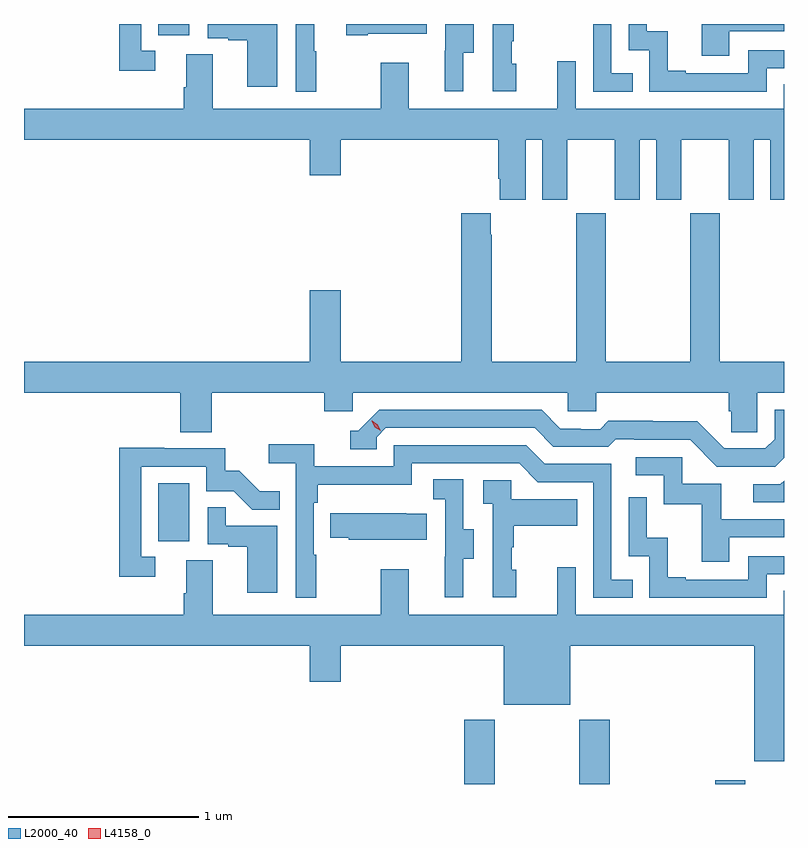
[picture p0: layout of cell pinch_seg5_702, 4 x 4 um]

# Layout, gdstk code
import gdstk
lib = gdstk.Library(unit=1e-6, precision=1e-09)
def R(c, l, rs):  # rectangles x0, y0, x1, y1
    for r in rs: c.add(gdstk.rectangle(r[:2], r[2:], *l))
def P(c, l, *ps):  # polygons
    for p in ps: c.add(gdstk.Polygon(p, *l))
L2000_40 = (2000, 40)
L4158_0 = (4158, 0)

pinch_seg5_702 = lib.new_cell('pinch_seg5_702')
R(pinch_seg5_702, L2000_40, [(1142.843,842.713,1143.003,843.052), (1143.448,842.713,1143.608,843.052), (1144.163,842.713,1144.323,842.734), (1141.232,843.99,1141.396,844.297), (1141.232,846.654,1141.396,846.713)])
P(pinch_seg5_702, L2000_40, [(1143.731,846.453),(1143.618,846.453),(1143.618,846.713),(1143.522,846.713),(1143.522,846.357),(1143.731,846.357)],
  [(1142.335,846.662),(1142.645,846.662),(1142.645,846.713),(1142.223,846.713),(1142.223,846.655),(1142.335,846.655)],
  [(1143.118,846.504),(1143.093,846.504),(1143.093,846.623),(1143.103,846.623),(1143.103,846.713),(1142.994,846.713),(1142.994,846.36),(1143.118,846.36)],
  [(1142.839,846.562),(1142.893,846.562),(1142.893,846.713),(1142.742,846.713),(1142.742,846.573),(1142.741,846.573),(1142.741,846.36),(1142.839,846.36)],
  [(1141.858,846.713),(1141.494,846.713),(1141.494,846.639),(1141.601,846.639),(1141.601,846.627),(1141.7,846.627),(1141.7,846.384),(1141.858,846.384)],
  [(1142.065,846.569),(1142.053,846.569),(1142.053,846.713),(1141.956,846.713),(1141.956,846.357),(1142.065,846.357)],
  [(1144.434,846.48),(1144.526,846.48),(1144.526,846.576),(1144.338,846.576),(1144.338,846.453),(1144.009,846.453),(1144.009,846.466),(1143.914,846.466),(1143.914,846.674),(1143.804,846.674),(1143.804,846.713),(1143.708,846.713),(1143.708,846.576),(1143.816,846.576),(1143.816,846.357),(1144.434,846.357)],
  [(1141.216,846.573),(1141.143,846.573),(1141.143,846.713),(1141.027,846.713),(1141.027,846.468),(1141.216,846.468)],
  [(1144.237,846.675),(1144.526,846.675),(1144.526,846.713),(1144.093,846.713),(1144.093,846.546),(1144.237,846.546)],
  [(1143.166,846.104),(1143.254,846.104),(1143.254,845.787),(1143.385,845.787),(1143.385,846.104),(1143.635,846.104),(1143.635,845.787),(1143.766,845.787),(1143.766,846.104),(1143.854,846.104),(1143.854,845.787),(1143.985,845.787),(1143.985,846.104),(1144.235,846.104),(1144.235,845.787),(1144.366,845.787),(1144.366,846.104),(1144.454,846.104),(1144.454,845.787),(1144.526,845.787),(1144.526,846.395),(1144.524,846.395),(1144.524,846.268),(1143.429,846.268),(1143.429,846.517),(1143.332,846.517),(1143.332,846.268),(1142.551,846.268),(1142.551,846.508),(1142.404,846.508),(1142.404,846.268),(1141.519,846.268),(1141.519,846.554),(1141.379,846.554),(1141.379,846.38),(1141.367,846.38),(1141.367,846.268),(1140.526,846.268),(1140.526,846.104),(1142.03,846.104),(1142.03,845.916),(1142.194,845.916),(1142.194,846.104),(1143.023,846.104),(1143.023,845.899),(1143.029,845.899),(1143.029,845.787),(1143.166,845.787)],
  [(1141.514,844.772),(1142.105,844.772),(1142.105,844.674),(1142.256,844.674),(1142.256,844.772),(1143.387,844.772),(1143.387,844.674),(1143.537,844.674),(1143.537,844.772),(1144.235,844.772),(1144.235,844.674),(1144.249,844.674),(1144.249,844.564),(1144.386,844.564),(1144.386,844.772),(1144.526,844.772),(1144.526,844.936),(1144.188,844.936),(1144.188,845.716),(1144.033,845.716),(1144.033,844.936),(1143.588,844.936),(1143.588,845.716),(1143.433,845.716),(1143.433,844.936),(1142.988,844.936),(1142.988,845.603),(1142.983,845.603),(1142.983,845.716),(1142.828,845.716),(1142.828,844.936),(1142.194,844.936),(1142.194,845.311),(1142.03,845.311),(1142.03,844.936),(1140.526,844.936),(1140.526,844.772),(1141.349,844.772),(1141.349,844.564),(1141.514,844.564)],
  [(1144.526,844.43),(1144.526,844.683),(1144.476,844.683),(1144.476,844.527),(1144.428,844.479),(1144.212,844.479),(1144.07,844.621),(1143.834,844.621),(1143.834,844.624),(1143.601,844.624),(1143.559,844.581),(1143.456,844.581),(1143.456,844.584),(1143.349,844.584),(1143.25,844.683),(1142.397,844.683),(1142.286,844.572),(1142.243,844.572),(1142.243,844.476),(1142.382,844.476),(1142.382,844.539),(1142.43,844.587),(1143.213,844.587),(1143.312,844.488),(1143.601,844.488),(1143.64,844.527),(1143.739,844.527),(1143.739,844.524),(1144.032,844.524),(1144.173,844.383),(1144.479,844.383)],
  [(1142.065,843.92),(1142.052,843.92),(1142.052,844.193),(1142.072,844.193),(1142.072,844.289),(1142.568,844.289),(1142.568,844.401),(1143.132,844.401),(1143.231,844.302),(1143.522,844.302),(1143.522,843.693),(1143.731,843.693),(1143.731,843.789),(1143.618,843.789),(1143.618,844.398),(1143.268,844.398),(1143.169,844.497),(1142.472,844.497),(1142.472,844.386),(1142.054,844.386),(1142.054,844.502),(1141.815,844.502),(1141.815,844.4),(1141.956,844.4),(1141.956,843.693),(1142.065,843.693)],
  [(1141.216,843.909),(1141.143,843.909),(1141.143,844.383),(1141.485,844.383),(1141.485,844.254),(1141.629,844.254),(1141.727,844.156),(1141.871,844.156),(1141.871,844.255),(1141.767,844.255),(1141.66,844.362),(1141.584,844.362),(1141.584,844.479),(1141.265,844.479),(1141.265,844.484),(1141.027,844.484),(1141.027,843.804),(1141.216,843.804)],
  [(1144.237,844.011),(1144.526,844.011),(1144.526,844.107),(1144.195,844.107),(1144.195,844.293),(1143.99,844.293),(1143.99,844.434),(1143.747,844.434),(1143.747,844.338),(1143.894,844.338),(1143.894,844.185),(1144.093,844.185),(1144.093,843.882),(1144.237,843.882)],
  [(1142.839,843.898),(1142.893,843.898),(1142.893,844.053),(1142.838,844.053),(1142.838,844.316),(1142.679,844.316),(1142.679,844.213),(1142.742,844.213),(1142.742,843.909),(1142.741,843.909),(1142.741,843.696),(1142.839,843.696)],
  [(1143.118,843.84),(1143.093,843.84),(1143.093,843.959),(1143.103,843.959),(1143.103,844.073),(1143.437,844.073),(1143.437,844.213),(1143.09,844.213),(1143.09,844.311),(1142.943,844.311),(1142.943,844.187),(1142.994,844.187),(1142.994,843.696),(1143.118,843.696)],
  [(1144.526,844.31),(1144.506,844.29),(1144.365,844.29),(1144.365,844.197),(1144.526,844.197)],
  [(1144.434,843.816),(1144.526,843.816),(1144.526,843.912),(1144.338,843.912),(1144.338,843.789),(1144.009,843.789),(1144.009,843.802),(1143.914,843.802),(1143.914,844.01),(1143.804,844.01),(1143.804,844.222),(1143.708,844.222),(1143.708,843.912),(1143.816,843.912),(1143.816,843.693),(1144.434,843.693)],
  [(1141.858,844.071),(1141.589,844.071),(1141.589,844.169),(1141.494,844.169),(1141.494,843.975),(1141.601,843.975),(1141.601,843.963),(1141.7,843.963),(1141.7,843.72),(1141.858,843.72)],
  [(1142.645,844.135),(1142.537,844.135),(1142.537,844.138),(1142.137,844.138),(1142.137,844.009),(1142.235,844.009),(1142.235,843.998),(1142.645,843.998)],
  [(1144.526,843.731),(1144.524,843.731),(1144.524,843.604),(1143.429,843.604),(1143.429,843.853),(1143.332,843.853),(1143.332,843.604),(1142.551,843.604),(1142.551,843.844),(1142.404,843.844),(1142.404,843.604),(1141.519,843.604),(1141.519,843.89),(1141.379,843.89),(1141.379,843.716),(1141.367,843.716),(1141.367,843.604),(1140.526,843.604),(1140.526,843.44),(1142.03,843.44),(1142.03,843.252),(1142.194,843.252),(1142.194,843.44),(1143.05,843.44),(1143.05,843.131),(1143.4,843.131),(1143.4,843.44),(1144.37,843.44),(1144.37,842.834),(1144.526,842.834)])
P(pinch_seg5_702, L4158_0, [(1142.404,844.572),(1142.373,844.591),(1142.357,844.623),(1142.357,844.624),(1142.358,844.624),(1142.388,844.604),(1142.404,844.572),(1142.404,844.572)])

lib.write_gds('pinch_seg5_702.gds')
